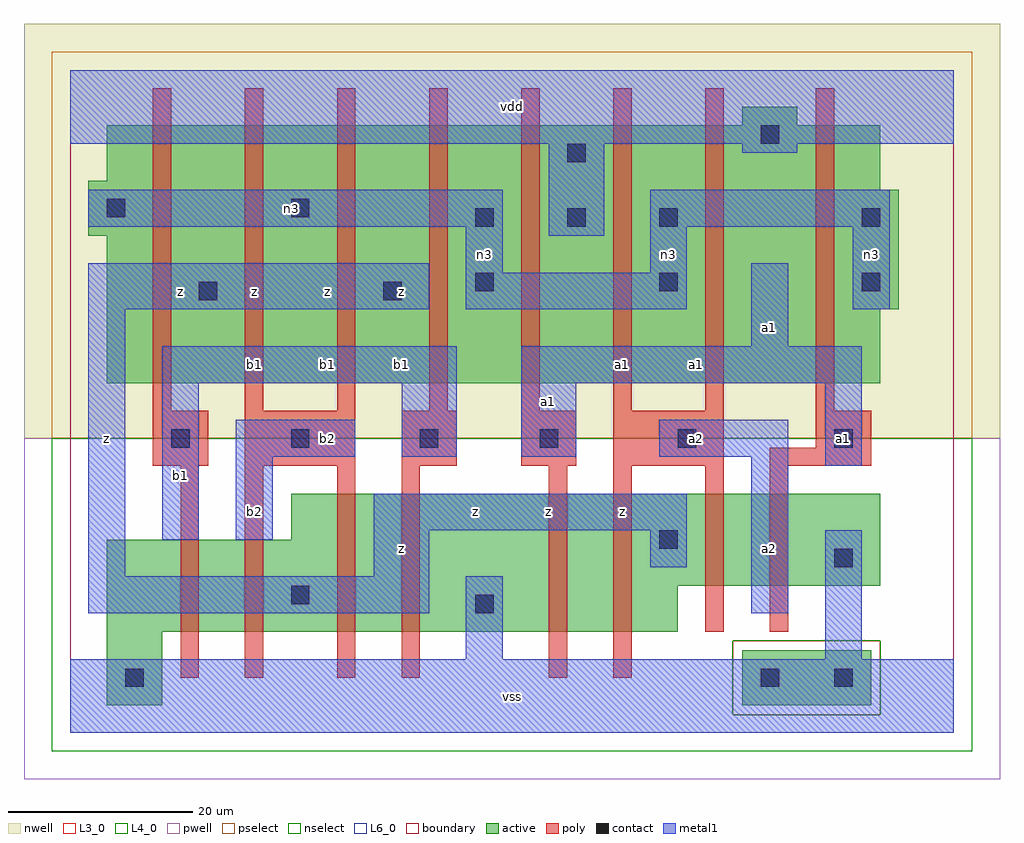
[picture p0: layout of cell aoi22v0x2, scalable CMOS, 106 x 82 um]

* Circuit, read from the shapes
.subckt aoi22v0x2 a1 a2 b1 b2 n3 vdd vss z
M1 n1 b1 vss vss nfet w=10u l=2u
M2 z b2 n1 vss nfet w=10u l=2u
M3 n2 b2 z vss nfet w=15u l=2u
M4 vss b1 n2 vss nfet w=15u l=2u
M5 n4 a1 vss vss nfet w=15u l=2u
M6 z a2 n4 vss nfet w=15u l=2u
M7 n5 a2 z vss nfet w=10u l=2u
M8 vss a1 n5 vss nfet w=10u l=2u
M9 z b1 n3 n6 pfet w=28u l=2u m=2
M10 n3 b2 z n6 pfet w=28u l=2u m=2
M11 vdd a1 n3 n6 pfet w=28u l=2u m=2
M12 n3 a2 vdd n6 pfet w=28u l=2u m=2
.ends

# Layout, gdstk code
import gdstk
lib = gdstk.Library(unit=1e-6, precision=1e-09)
def R(c, l, rs):  # rectangles x0, y0, x1, y1
    for r in rs: c.add(gdstk.rectangle(r[:2], r[2:], *l))
def A(c, l, x, y, w, h, nx, ny, dx, dy):  # array of equal rectangles
    R(c, l, [(x+i*dx, y+j*dy, x+i*dx+w, y+j*dy+h) for i in range(nx) for j in range(ny)])
L3_0 = (3, 0)
L4_0 = (4, 0)
L6_0 = (6, 0)
contact = (25, 0)
pwell = (41, 0)
nwell = (42, 0)
active = (43, 0)
pselect = (44, 0)
nselect = (45, 0)
poly = (46, 0)
metal1 = (49, 0)
boundary = (63, 0)

aoi22v0x2 = lib.new_cell('aoi22v0x2')
R(aoi22v0x2, L3_0, [(4,3,10,11), (4,11,66,16), (4,16,88,21), (24,21,88,26)])
R(aoi22v0x2, L4_0, [(4,38,88,46), (4,46,90,54), (2,54,90,59), (2,59,88,60), (4,60,88,66), (73,66,79,68)])
R(aoi22v0x2, L6_0, [(73,3,87,9)])
A(aoi22v0x2, contact, 83, 5, 2, 2, 1, 3, 0, 13)
A(aoi22v0x2, contact, 44, 55, 2, 2, 3, 1, 10, 0)
R(aoi22v0x2, contact, [(6,5,8,7), (75,5,77,7), (44,13,46,15), (24,14,26,16), (64,20,66,22), (11,31,13,33), (24,31,26,33), (38,31,40,33), (51,31,53,33), (66,31,68,33), (14,47,16,49), (34,47,36,49), (44,48,46,50), (64,48,66,50), (86,48,88,50), (86,55,88,57), (4,56,6,58), (24,56,26,58), (54,62,56,64), (75,64,77,66)])
R(aoi22v0x2, pwell, [(-5,-5,101,32)])
R(aoi22v0x2, nwell, [(-5,32,101,77)])
R(aoi22v0x2, active, [(4,3,10,11), (73,3,87,9), (4,11,66,16), (4,16,88,21), (24,21,88,26), (4,38,88,46), (4,46,90,54), (2,54,90,59), (2,59,88,60), (4,60,88,66), (73,66,79,68)])
R(aoi22v0x2, pselect, [(72,2,88,10), (-2,32,98,74)])
R(aoi22v0x2, nselect, [(-2,-2,98,2), (-2,2,72,10), (88,2,98,10), (-2,10,98,32)])
A(aoi22v0x2, poly, 9, 35, 2, 35, 7, 1, 10, 0)
R(aoi22v0x2, poly, [(12,6,14,29), (19,6,21,29), (29,6,31,29), (36,6,38,29), (52,6,54,29), (59,6,61,29), (69,11,71,29), (76,11,78,29), (9,29,15,35), (19,29,31,35), (36,29,42,35), (49,29,55,35), (59,29,71,35), (76,29,87,31), (81,31,87,35), (81,35,83,70)])
R(aoi22v0x2, metal1, [(0,0,96,8), (43,8,47,17), (82,8,86,22), (2,13,39,17), (74,13,78,30), (2,17,6,46), (33,17,39,22), (63,18,67,22), (10,21,14,38), (18,21,22,30), (33,22,67,26), (82,29,86,38), (18,30,31,34), (36,30,42,38), (49,30,55,38), (64,30,78,34), (10,38,42,42), (49,38,86,42), (74,42,78,51), (2,46,39,51), (43,46,67,50), (85,46,89,55), (43,50,47,55), (63,50,67,55), (52,54,58,64), (2,55,47,59), (63,55,89,59), (73,63,79,64), (0,64,96,72)])
R(aoi22v0x2, boundary, [(0,0,96,72)])
aoi22v0x2.add(gdstk.Label('n3', (45,52), layer=49, texttype=0))
aoi22v0x2.add(gdstk.Label('n3', (24,57), layer=49, texttype=0))
aoi22v0x2.add(gdstk.Label('n3', (87,52), layer=49, texttype=0))
aoi22v0x2.add(gdstk.Label('n3', (65,52), layer=49, texttype=0))
aoi22v0x2.add(gdstk.Label('b1', (12,28), layer=49, texttype=0))
aoi22v0x2.add(gdstk.Label('z', (4,32), layer=49, texttype=0))
aoi22v0x2.add(gdstk.Label('z', (12,48), layer=49, texttype=0))
aoi22v0x2.add(gdstk.Label('b2', (20,24), layer=49, texttype=0))
aoi22v0x2.add(gdstk.Label('b2', (28,32), layer=49, texttype=0))
aoi22v0x2.add(gdstk.Label('b1', (20,40), layer=49, texttype=0))
aoi22v0x2.add(gdstk.Label('b1', (28,40), layer=49, texttype=0))
aoi22v0x2.add(gdstk.Label('z', (20,48), layer=49, texttype=0))
aoi22v0x2.add(gdstk.Label('z', (28,48), layer=49, texttype=0))
aoi22v0x2.add(gdstk.Label('vss', (48,4), layer=49, texttype=0))
aoi22v0x2.add(gdstk.Label('z', (36,20), layer=49, texttype=0))
aoi22v0x2.add(gdstk.Label('z', (44,24), layer=49, texttype=0))
aoi22v0x2.add(gdstk.Label('z', (52,24), layer=49, texttype=0))
aoi22v0x2.add(gdstk.Label('b1', (36,40), layer=49, texttype=0))
aoi22v0x2.add(gdstk.Label('a1', (52,36), layer=49, texttype=0))
aoi22v0x2.add(gdstk.Label('z', (36,48), layer=49, texttype=0))
aoi22v0x2.add(gdstk.Label('vdd', (48,68), layer=49, texttype=0))
aoi22v0x2.add(gdstk.Label('z', (60,24), layer=49, texttype=0))
aoi22v0x2.add(gdstk.Label('a2', (76,20), layer=49, texttype=0))
aoi22v0x2.add(gdstk.Label('a2', (68,32), layer=49, texttype=0))
aoi22v0x2.add(gdstk.Label('a1', (60,40), layer=49, texttype=0))
aoi22v0x2.add(gdstk.Label('a1', (68,40), layer=49, texttype=0))
aoi22v0x2.add(gdstk.Label('a1', (76,44), layer=49, texttype=0))
aoi22v0x2.add(gdstk.Label('a1', (84,32), layer=49, texttype=0))

lib.write_gds('aoi22v0x2.gds')
